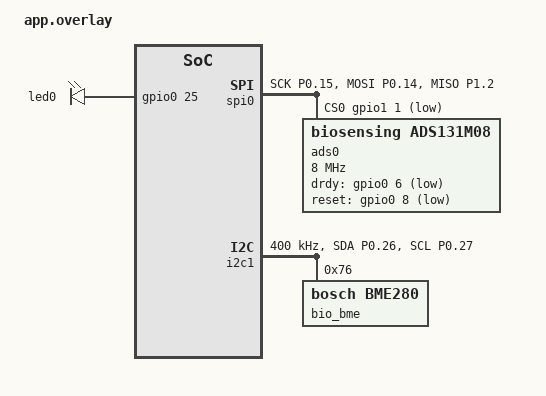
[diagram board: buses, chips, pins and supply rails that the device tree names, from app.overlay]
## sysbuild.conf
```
# Kconfig.sysbuild selects HCI IPC on nRF5340, no extra image on nRF52.
# MCUboot/DFU is intentionally not part of initial board bring-up.
```

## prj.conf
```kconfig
# bt52840_min: minimal preset. This is the complete configuration.
# Select nrf52840dk/nrf52840 with NCS v3.3.1 and sysbuild.
# No EXTRA_CONF_FILE or other custom build arguments are needed.

CONFIG_GPIO=y
CONFIG_BT=y
CONFIG_BT_PERIPHERAL=y
CONFIG_BT_MAX_CONN=1
CONFIG_BT_L2CAP_TX_MTU=247
CONFIG_BT_BUF_ACL_RX_SIZE=251
CONFIG_BT_BUF_ACL_TX_SIZE=251
CONFIG_BT_BUF_ACL_TX_COUNT=3
CONFIG_BT_RX_STACK_SIZE=1536
CONFIG_MAIN_STACK_SIZE=2048
CONFIG_SYSTEM_WORKQUEUE_STACK_SIZE=1536
CONFIG_HEAP_MEM_POOL_SIZE=2048
CONFIG_LOG=y
CONFIG_LOG_DEFAULT_LEVEL=3
CONFIG_USE_SEGGER_RTT=y
CONFIG_CONSOLE=y
CONFIG_UART_CONSOLE=n
CONFIG_RTT_CONSOLE=y
CONFIG_LOG_BACKEND_UART=n
CONFIG_LOG_BACKEND_RTT=n
CONFIG_SHELL=y
CONFIG_SHELL_BACKEND_SERIAL=n
CONFIG_SHELL_BACKEND_RTT=y
CONFIG_SHELL_VT100_COLORS=n
CONFIG_SHELL_CMDS_RESIZE=n
CONFIG_REBOOT=y
CONFIG_SERIAL=n
# Modules do not require an external 32.768 kHz crystal for bring-up.
CONFIG_CLOCK_CONTROL_NRF_K32SRC_RC=y
CONFIG_CLOCK_CONTROL_NRF_K32SRC_XTAL=n

CONFIG_BIO_PROFILE="BT52840 / BT840"
CONFIG_BT_DEVICE_NAME="BT840-v3"

# Built-in minimal feature.
CONFIG_BIO_ADS=n
CONFIG_BIO_I2C_SENSORS=n
CONFIG_BIO_BEACONS=n
```

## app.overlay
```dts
// bt52840_min: complete carrier overlay; automatically loaded by Zephyr.
#include <zephyr/dt-bindings/gpio/gpio.h>
#include <zephyr/dt-bindings/pinctrl/nrf-pinctrl.h>
/ { aliases { bio-led = &led0; ads0 = &ads0; ads1 = &ads1; sensor-i2c = &i2c1; }; };
&led0 { gpios = <&gpio0 25 GPIO_ACTIVE_HIGH>; };
&led1 { status = "disabled"; };
&led2 { status = "disabled"; };
&led3 { status = "disabled"; };
&button0 { status = "disabled"; };
&button1 { status = "disabled"; };
&button2 { status = "disabled"; };
&button3 { status = "disabled"; };
&gpio0 { /delete-property/ gpio-reserved-ranges; /delete-property/ gpio-line-names; };
&gpio1 { /delete-property/ gpio-line-names; };
&uart0 { status = "disabled"; };
&uart1 { status = "disabled"; };
&qspi { status = "disabled"; };
&pwm0 { status = "disabled"; };
&nfct { status = "disabled"; };
&adc { status = "disabled"; };
&i2c0 { status = "disabled"; };
&spi1 { status = "disabled"; };
&spi0 {
	status = "okay";
	compatible = "nordic,nrf-spim";
	pinctrl-0 = <&bio_spi_default>;
	pinctrl-1 = <&bio_spi_sleep>;
	pinctrl-names = "default", "sleep";
	cs-gpios = <&gpio1 1 GPIO_ACTIVE_LOW>;
	ads0: adc@0 {
		compatible = "biosensing,ads131m08";
		reg = <0>;
		spi-max-frequency = <8000000>;
		drdy-gpios = <&gpio0 6 (GPIO_ACTIVE_LOW | GPIO_PULL_UP)>;
		reset-gpios = <&gpio0 8 GPIO_ACTIVE_LOW>;
	};
	// Extension mapping follows executable main.cpp, see hardware notes.
	ads1: adc@1 {
		compatible = "biosensing,ads131m08";
		reg = <1>;
		spi-max-frequency = <8000000>;
		drdy-gpios = <&gpio1 8 (GPIO_ACTIVE_LOW | GPIO_PULL_UP)>;
		reset-gpios = <&gpio0 29 GPIO_ACTIVE_LOW>;
		status = "disabled";
	};
};
&i2c1 {
	compatible = "nordic,nrf-twim";
	status = "okay";
	clock-frequency = <400000>;
	pinctrl-0 = <&bio_i2c_default>;
	pinctrl-1 = <&bio_i2c_sleep>;
	pinctrl-names = "default", "sleep";
	bio_bme: bme280@76 { compatible = "bosch,bme280"; reg = <0x76>; };
};
&pinctrl {
	bio_spi_default: bio_spi_default { group1 { psels = <NRF_PSEL(SPIM_SCK, 0, 15)>, <NRF_PSEL(SPIM_MOSI, 0, 14)>, <NRF_PSEL(SPIM_MISO, 1, 2)>; }; };
	bio_spi_sleep: bio_spi_sleep { group1 { psels = <NRF_PSEL(SPIM_SCK, 0, 15)>, <NRF_PSEL(SPIM_MOSI, 0, 14)>, <NRF_PSEL(SPIM_MISO, 1, 2)>; low-power-enable; }; };
	bio_i2c_default: bio_i2c_default { group1 { psels = <NRF_PSEL(TWIM_SDA, 0, 26)>, <NRF_PSEL(TWIM_SCL, 0, 27)>; }; };
	bio_i2c_sleep: bio_i2c_sleep { group1 { psels = <NRF_PSEL(TWIM_SDA, 0, 26)>, <NRF_PSEL(TWIM_SCL, 0, 27)>; low-power-enable; }; };
};
```

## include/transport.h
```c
#ifndef BIO_TRANSPORT_H
#define BIO_TRANSPORT_H

#include "protocol.h"

/* Portable state helpers. Callers must serialize access (mutex or spinlock). */
struct bio_link {
	uint32_t generation;
	bool open;
};

bool bio_link_set(struct bio_link *link, bool open);
uint32_t bio_link_token(const struct bio_link *link);
bool bio_link_accepts(const struct bio_link *link, uint32_t token);

struct bio_line {
	char data[BIO_COMMAND_MAX];
	size_t used;
	bool overflow;
};

enum bio_line_result { BIO_LINE_MORE, BIO_LINE_READY, BIO_LINE_OVERFLOW };
void bio_line_reset(struct bio_line *line);
/* READY leaves a NUL-terminated command in data until the next feed/reset. */
enum bio_line_result bio_line_feed(struct bio_line *line, uint8_t byte);

#endif
```

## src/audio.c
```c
#include "bio.h"
#include <zephyr/drivers/i2s.h>
#include <zephyr/logging/log.h>
LOG_MODULE_REGISTER(bio_audio, LOG_LEVEL_INF);
#define BLOCK_BYTES 256
static const struct device *const output = DEVICE_DT_GET(DT_NODELABEL(i2s0));
K_MEM_SLAB_DEFINE(audio_slab, BLOCK_BYTES, 4, 4);
K_SEM_DEFINE(audio_wake, 0, 1);
static atomic_t requested, active;
static unsigned phase;
static int queue_tone(void)
{
	void *block;
	int err = k_mem_slab_alloc(&audio_slab, &block, K_MSEC(100));
	if (err) { return err; }
	int16_t *samples = block;
	for (unsigned i = 0; i < BLOCK_BYTES / 4; i++) {
		// Quiet 1 kHz stereo square wave at 16 kHz; no large embedded alarm array.
		int16_t value = (phase++ & 15) < 8 ? 512 : -512;
		samples[i * 2] = value; samples[i * 2 + 1] = value;
	}
	err = i2s_write(output, block, BLOCK_BYTES);
	if (err) { k_mem_slab_free(&audio_slab, block); }
	return err;
}
static void audio_worker(void *a, void *b, void *c)
{
	while (true) {
		k_sem_take(&audio_wake, K_FOREVER);
		if (!atomic_get(&requested)) { continue; }
		struct i2s_config cfg = {
			.word_size = 16, .channels = 2, .format = I2S_FMT_DATA_FORMAT_I2S,
			.options = I2S_OPT_BIT_CLK_MASTER | I2S_OPT_FRAME_CLK_MASTER,
			.frame_clk_freq = 16000, .mem_slab = &audio_slab,
			.block_size = BLOCK_BYTES, .timeout = 100,
		};
		int err = i2s_configure(output, I2S_DIR_TX, &cfg);
		if (!err) { err = queue_tone(); }
		if (!err) { err = queue_tone(); }
		if (!err) { err = i2s_trigger(output, I2S_DIR_TX, I2S_TRIGGER_START); }
		atomic_set(&active, !err);
		while (!err && atomic_get(&requested)) { err = queue_tone(); }
		(void)i2s_trigger(output, I2S_DIR_TX, I2S_TRIGGER_DROP);
		atomic_clear(&active);
		if (err) { atomic_clear(&requested); LOG_ERR("Audio stopped: %d", err); }
	}
}
K_THREAD_DEFINE(audio_thread, 1536, audio_worker, NULL, NULL, NULL, 5, 0, 0);
int bio_audio_set(bool enable)
{
	if (!device_is_ready(output)) { return -ENODEV; }
	atomic_set(&requested, enable);
	if (enable) { k_sem_give(&audio_wake); }
	return 0;
}
bool bio_audio_ready(void) { return device_is_ready(output); }
bool bio_audio_running(void) { return atomic_get(&active) != 0; }
```
